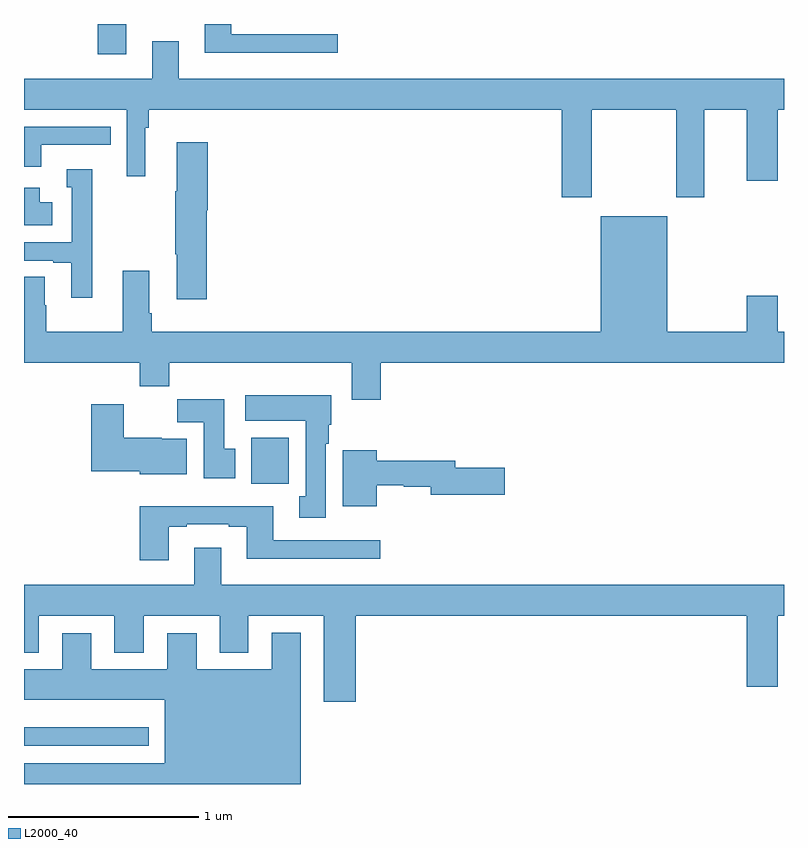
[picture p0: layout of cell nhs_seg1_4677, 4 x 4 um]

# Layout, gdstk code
import gdstk
lib = gdstk.Library(unit=1e-6, precision=1e-09)
def R(c, l, rs):  # rectangles x0, y0, x1, y1
    for r in rs: c.add(gdstk.rectangle(r[:2], r[2:], *l))
def P(c, l, *ps):  # polygons
    for p in ps: c.add(gdstk.Polygon(p, *l))
L2000_40 = (2000, 40)

nhs_seg1_4677 = lib.new_cell('nhs_seg1_4677')
R(nhs_seg1_4677, L2000_40, [(365,532.401,365.656,532.498), (366.197,533.78,366.394,534.022), (365.387,536.04,365.539,536.199)])
P(nhs_seg1_4677, L2000_40, [(366.652,536.145),(366.091,536.145),(366.091,536.199),(365.951,536.199),(365.951,536.048),(366.652,536.048)],
  [(367.989,535.748),(368.434,535.748),(368.434,535.287),(368.581,535.287),(368.581,535.748),(368.804,535.748),(368.804,535.374),(368.968,535.374),(368.968,535.748),(369,535.748),(369,535.912),(365.815,535.912),(365.815,536.107),(365.675,536.107),(365.675,535.912),(365,535.912),(365,535.748),(365.541,535.748),(365.541,535.398),(365.638,535.398),(365.638,535.652),(365.657,535.652),(365.657,535.748),(367.829,535.748),(367.829,535.287),(367.989,535.287)],
  [(365.092,535.563),(365.456,535.563),(365.456,535.659),(365,535.659),(365,535.448),(365.092,535.448)],
  [(365.963,535.218),(365.968,535.218),(365.968,535.576),(365.804,535.576),(365.804,535.318),(365.797,535.318),(365.797,534.988),(365.804,534.988),(365.804,534.75),(365.963,534.75)],
  [(365.359,535.435),(365.225,535.435),(365.225,535.341),(365.25,535.341),(365.25,535.05),(365,535.05),(365,534.954),(365.153,534.954),(365.153,534.942),(365.249,534.942),(365.249,534.759),(365.359,534.759)],
  [(365.149,535.261),(365.083,535.261),(365.083,535.336),(365,535.336),(365,535.139),(365.149,535.139)],
  [(366.878,534.416),(369,534.416),(369,534.58),(368.968,534.58),(368.968,534.769),(368.804,534.769),(368.804,534.58),(368.386,534.58),(368.386,535.186),(368.036,535.186),(368.036,534.58),(365.672,534.58),(365.672,534.676),(365.659,534.676),(365.659,534.901),(365.519,534.901),(365.519,534.58),(365.118,534.58),(365.118,534.719),(365.11,534.719),(365.11,534.869),(365,534.869),(365,534.416),(365.609,534.416),(365.609,534.292),(365.765,534.292),(365.765,534.416),(366.725,534.416),(366.725,534.222),(366.878,534.222)],
  [(366.589,533.99),(366.604,533.99),(366.604,534.09),(366.616,534.09),(366.616,534.244),(366.165,534.244),(366.165,534.11),(366.482,534.11),(366.482,533.714),(366.449,533.714),(366.449,533.601),(366.589,533.601)],
  [(366.112,533.964),(366.055,533.964),(366.055,534.223),(365.806,534.223),(365.806,534.104),(365.945,534.104),(365.945,533.808),(366.112,533.808)],
  [(365.857,534.016),(365.724,534.016),(365.724,534.022),(365.524,534.022),(365.524,534.199),(365.354,534.199),(365.354,533.846),(365.61,533.846),(365.61,533.828),(365.857,533.828)],
  [(366.856,533.772),(366.999,533.772),(366.999,533.764),(367.142,533.764),(367.142,533.722),(367.531,533.722),(367.531,533.864),(367.27,533.864),(367.27,533.9),(366.856,533.9),(366.856,533.956),(366.677,533.956),(366.677,533.66),(366.856,533.66)],
  [(365.761,533.553),(365.857,533.553),(365.857,533.565),(366.077,533.565),(366.077,533.553),(366.173,533.553),(366.173,533.384),(366.874,533.384),(366.874,533.481),(366.313,533.481),(366.313,533.662),(365.609,533.662),(365.609,533.376),(365.761,533.376)],
  [(366.037,533.443),(365.897,533.443),(365.897,533.248),(365,533.248),(365,532.89),(365.077,532.89),(365.077,533.084),(365.474,533.084),(365.474,532.89),(365.629,532.89),(365.629,533.084),(366.029,533.084),(366.029,532.89),(366.181,532.89),(366.181,533.084),(366.578,533.084),(366.578,532.632),(366.746,532.632),(366.746,533.084),(368.804,533.084),(368.804,532.71),(368.968,532.71),(368.968,533.084),(369,533.084),(369,533.248),(366.037,533.248)],
  [(366.457,532.996),(366.305,532.996),(366.305,532.804),(365.908,532.804),(365.908,532.993),(365.753,532.993),(365.753,532.804),(365.353,532.804),(365.353,532.993),(365.201,532.993),(365.201,532.804),(365,532.804),(365,532.643),(365.741,532.643),(365.741,532.309),(365,532.309),(365,532.199),(366.457,532.199)])

lib.write_gds('nhs_seg1_4677.gds')
